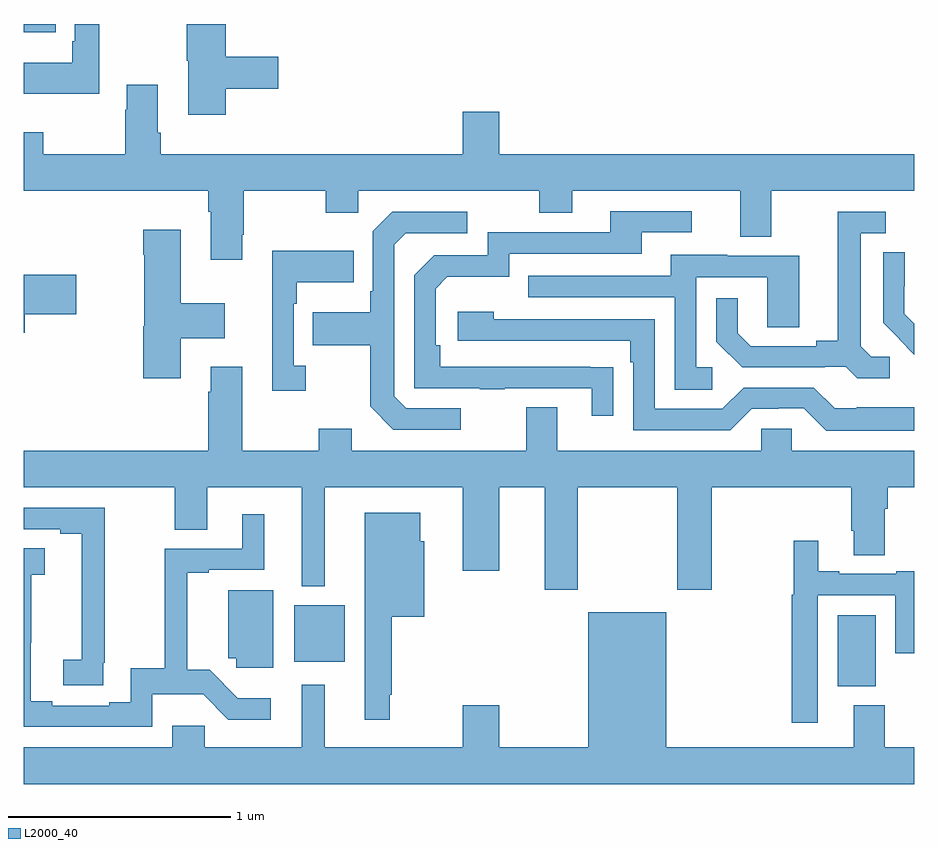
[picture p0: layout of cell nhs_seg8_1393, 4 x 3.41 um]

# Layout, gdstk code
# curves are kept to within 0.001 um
import gdstk
lib = gdstk.Library(unit=1e-6, precision=1e-09)
def R(c, l, rs):  # rectangles x0, y0, x1, y1
    for r in rs: c.add(gdstk.rectangle(r[:2], r[2:], *l))
def P(c, l, *ps):  # polygons
    for p in ps: c.add(gdstk.Polygon(p, *l))
L2000_40 = (2000, 40)

nhs_seg8_1393 = lib.new_cell('nhs_seg8_1393')
R(nhs_seg8_1393, L2000_40, [(202.655,1128.926,202.825,1129.246), (200.216,1129.037,200.443,1129.291), (199,1131.863,199.145,1131.9)])
P(nhs_seg8_1393, L2000_40, [(199.339,1131.9),(199.23,1131.9),(199.23,1131.823),(199.218,1131.823),(199.218,1131.727),(199,1131.727),(199,1131.587),(199.339,1131.587)],
  [(199.907,1131.61),(200.143,1131.61),(200.143,1131.752),(199.907,1131.752),(199.907,1131.9),(199.732,1131.9),(199.732,1131.735),(199.739,1131.735),(199.739,1131.492),(199.907,1131.492)],
  [(199.981,1130.953),(199.989,1130.953),(199.989,1131.152),(200.356,1131.152),(200.356,1131.053),(200.502,1131.053),(200.502,1131.152),(201.316,1131.152),(201.316,1131.053),(201.463,1131.053),(201.463,1131.152),(202.217,1131.152),(202.217,1130.944),(202.357,1130.944),(202.357,1131.152),(203,1131.152),(203,1131.316),(201.136,1131.316),(201.136,1131.505),(200.972,1131.505),(200.972,1131.316),(199.616,1131.316),(199.616,1131.412),(199.603,1131.412),(199.603,1131.628),(199.463,1131.628),(199.463,1131.515),(199.456,1131.515),(199.456,1131.316),(199.089,1131.316),(199.089,1131.415),(199,1131.415),(199,1131.152),(199.829,1131.152),(199.829,1131.056),(199.841,1131.056),(199.841,1130.841),(199.981,1130.841)],
  [(201.647,1130.36),(200.87,1130.361),(200.87,1130.458),(200.85,1130.458),(200.85,1130.712),(200.903,1130.765),(201.18,1130.765),(201.18,1130.868),(201.775,1130.868),(201.775,1130.964),(202,1130.964),(202,1131.06),(201.635,1131.06),(201.635,1130.964),(201.084,1130.964),(201.084,1130.862),(200.844,1130.862),(200.754,1130.772),(200.754,1130.265),(201.049,1130.265),(201.049,1130.26),(201.161,1130.26),(201.161,1130.265),(201.551,1130.265),(201.551,1130.142),(201.647,1130.142)],
  [(200.962,1130.175),(200.718,1130.175),(200.664,1130.229),(200.664,1130.91),(200.715,1130.961),(200.992,1130.961),(200.992,1131.057),(200.655,1131.057),(200.568,1130.97),(200.568,1130.701),(200.556,1130.701),(200.556,1130.605),(200.299,1130.605),(200.299,1130.458),(200.556,1130.458),(200.556,1130.185),(200.661,1130.079),(200.962,1130.079)],
  [(202.888,1130.406),(202.806,1130.406),(202.759,1130.453),(202.759,1130.961),(202.87,1130.961),(202.87,1131.057),(202.655,1131.057),(202.655,1130.477),(202.559,1130.477),(202.559,1130.454),(202.264,1130.454),(202.207,1130.511),(202.207,1130.668),(202.11,1130.668),(202.11,1130.474),(202.226,1130.358),(202.598,1130.358),(202.598,1130.361),(202.692,1130.361),(202.744,1130.309),(202.888,1130.309)],
  [(199.705,1130.489),(199.903,1130.489),(199.903,1130.647),(199.705,1130.647),(199.705,1130.977),(199.538,1130.977),(199.538,1130.864),(199.543,1130.864),(199.543,1130.543),(199.538,1130.543),(199.538,1130.31),(199.705,1130.31)],
  [(200.266,1130.366),(200.214,1130.366),(200.214,1130.645),(200.227,1130.645),(200.227,1130.741),(200.483,1130.741),(200.483,1130.881),(200.117,1130.881),(200.117,1130.253),(200.266,1130.253)],
  [(203,1130.554),(202.955,1130.6),(202.955,1130.722),(202.956,1130.722),(202.956,1130.876),(202.86,1130.876),(202.86,1130.558),(202.933,1130.485),(202.932,1130.484),(203,1130.416)],
  [(202.093,1130.358),(202.02,1130.358),(202.02,1130.763),(202.338,1130.763),(202.338,1130.539),(202.483,1130.539),(202.483,1130.859),(202.159,1130.859),(202.159,1130.863),(201.905,1130.863),(201.905,1130.769),(201.265,1130.769),(201.265,1130.673),(201.924,1130.673),(201.924,1130.257),(202.093,1130.257)],
  [(199.006,1130.597),(199.237,1130.597),(199.237,1130.775),(199.002,1130.775),(199.002,1130.767),(199,1130.767),(199,1130.513),(199.006,1130.513)],
  [(203,1130.179),(202.741,1130.179),(202.741,1130.175),(202.641,1130.175),(202.548,1130.268),(202.233,1130.268),(202.137,1130.172),(201.834,1130.172),(201.834,1130.574),(201.11,1130.574),(201.11,1130.608),(200.949,1130.608),(200.949,1130.478),(201.725,1130.478),(201.725,1130.381),(201.738,1130.381),(201.738,1130.076),(202.173,1130.076),(202.269,1130.172),(202.388,1130.172),(202.388,1130.175),(202.503,1130.175),(202.603,1130.075),(203,1130.075)],
  [(201.489,1129.82),(201.934,1129.82),(201.934,1129.359),(202.089,1129.359),(202.089,1129.82),(202.715,1129.82),(202.715,1129.624),(202.727,1129.624),(202.727,1129.516),(202.867,1129.516),(202.867,1129.724),(202.88,1129.724),(202.88,1129.82),(203,1129.82),(203,1129.984),(202.449,1129.984),(202.449,1130.082),(202.311,1130.082),(202.311,1129.984),(201.397,1129.984),(201.397,1130.179),(201.257,1130.179),(201.257,1129.984),(200.473,1129.984),(200.473,1130.083),(200.326,1130.083),(200.326,1129.984),(199.981,1129.984),(199.981,1130.362),(199.841,1130.362),(199.841,1130.249),(199.829,1130.249),(199.829,1129.984),(199,1129.984),(199,1129.82),(199.678,1129.82),(199.678,1129.63),(199.825,1129.63),(199.825,1129.82),(200.249,1129.82),(200.249,1129.376),(200.353,1129.376),(200.353,1129.82),(200.972,1129.82),(200.972,1129.446),(201.136,1129.446),(201.136,1129.82),(201.341,1129.82),(201.341,1129.359),(201.489,1129.359)],
  [(199.358,1129.033),(199.364,1129.033),(199.364,1129.728),(199,1129.728),(199,1129.632),(199.166,1129.632),(199.166,1129.612),(199.262,1129.612),(199.262,1129.329),(199.261,1129.329),(199.261,1129.046),(199.179,1129.046),(199.179,1128.931),(199.358,1128.931)],
  [(200.645,1128.889),(200.653,1128.889),(200.653,1129.238),(200.8,1129.238),(200.8,1129.578),(200.782,1129.578),(200.782,1129.705),(200.531,1129.705),(200.531,1128.777),(200.645,1128.777)],
  [(199.578,1128.89),(199.807,1128.89),(199.92,1128.777),(200.11,1128.777),(200.11,1128.874),(199.961,1128.874),(199.835,1129),(199.736,1129),(199.736,1129.437),(199.831,1129.437),(199.831,1129.449),(200.08,1129.449),(200.08,1129.699),(199.982,1129.699),(199.982,1129.545),(199.633,1129.545),(199.633,1129.007),(199.482,1129.007),(199.482,1128.854),(199.385,1128.854),(199.385,1128.84),(199.129,1128.84),(199.129,1128.86),(199.033,1128.86),(199.033,1129.123),(199.035,1129.123),(199.035,1129.427),(199.096,1129.427),(199.096,1129.547),(199,1129.547),(199,1128.744),(199.578,1128.744)],
  [(202.566,1129.335),(202.913,1129.335),(202.913,1129.074),(203,1129.074),(203,1129.444),(202.919,1129.444),(202.919,1129.431),(202.663,1129.431),(202.663,1129.444),(202.567,1129.444),(202.567,1129.579),(202.458,1129.579),(202.458,1129.338),(202.45,1129.338),(202.45,1128.762),(202.566,1128.762)],
  [(200.122,1129.357),(199.919,1129.357),(199.919,1129.052),(199.956,1129.052),(199.956,1129.01),(200.122,1129.01)],
  [(200.249,1128.934),(200.249,1128.652),(199.814,1128.652),(199.814,1128.75),(199.667,1128.75),(199.667,1128.652),(199,1128.652),(199,1128.488),(203,1128.488),(203,1128.652),(202.867,1128.652),(202.867,1128.841),(202.727,1128.841),(202.727,1128.652),(201.886,1128.652),(201.886,1129.258),(201.536,1129.258),(201.536,1128.652),(201.136,1128.652),(201.136,1128.841),(200.972,1128.841),(200.972,1128.652),(200.353,1128.652),(200.353,1128.934)])

lib.write_gds('nhs_seg8_1393.gds')
